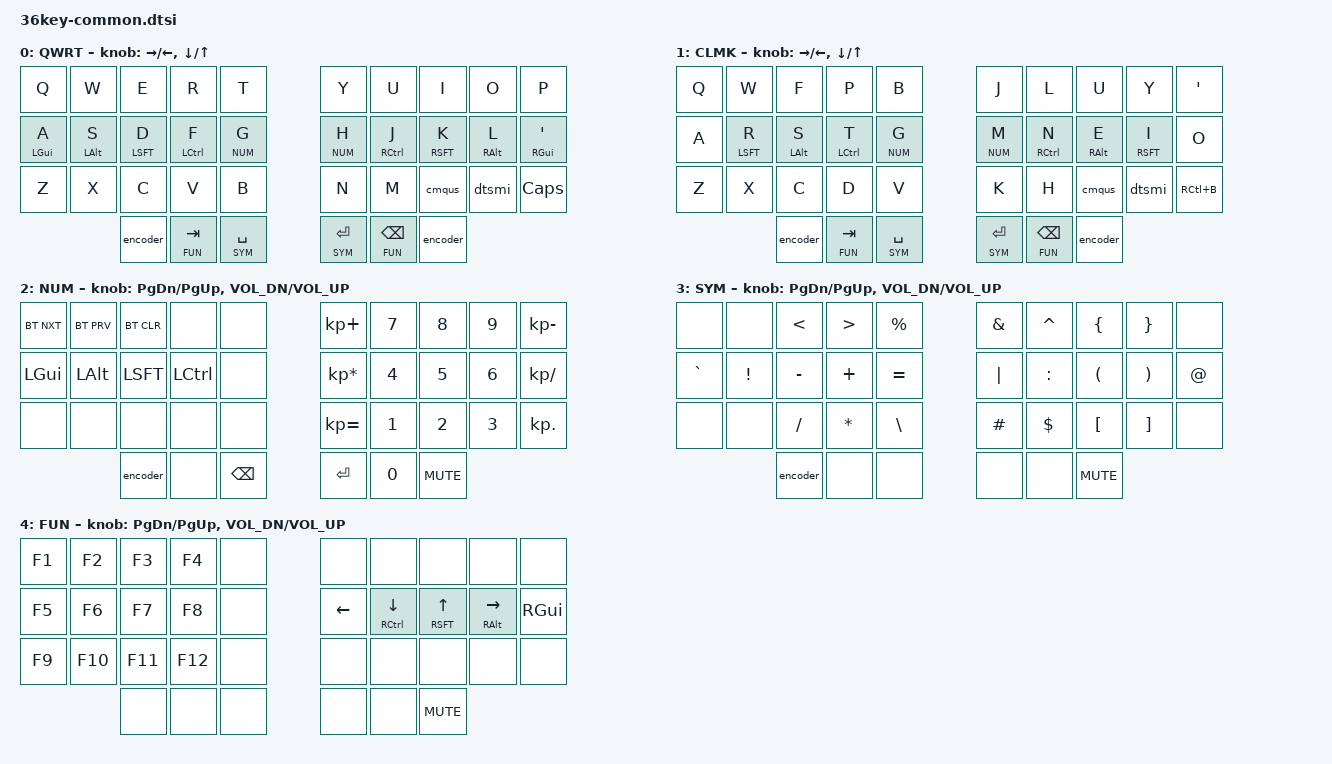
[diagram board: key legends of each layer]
#define DEFAULT 0
#define COLEMAK 1
#define NUM     2
#define SYM     3
#define FUN     4

#include "key-common.dtsi"

&mt {
   flavor = "tap-preferred";
   tapping_term_ms = <200>;
};

/ { 

    keymap {
        compatible = "zmk,keymap";
                
 	default_layer {
            label = "QWRT";
        	bindings = <
            	&kp Q           &kp W           &kp E           &kp R           &kp T           &kp Y           &kp U           &kp I           &kp O           &kp P
             	&mt LGUI A      &mt LALT S      &mt LSFT D      &mt LCTL F      &lt NUM G       &lt NUM H       &mt RCTL J      &mt RSFT K      &mt RALT L      &mt RGUI SQT 
                &kp Z           &kp X           &kp C           &kp V           &kp B           &kp N           &kp M           &cmqus          &dtsmi          &kp CAPS
                                                &encoder        &lt FUN TAB     &lt SYM SPACE   &lt SYM RET     &lt FUN BSPC    &encoder
             	>;
            sensor-bindings = <&inc_dec_kp RIGHT LEFT &inc_dec_kp DOWN UP>;
		    };

     	colemak_layer {
            label = "CLMK";
        	bindings = <
          	    &kp Q           &kp W           &kp F           &kp P           &kp B           &kp J           &kp L           &kp U           &kp Y           &kp SQT
            	&kp A           &mt LSFT R      &mt LALT S      &mt LCTL T      &lt NUM G       &lt NUM M       &mt RCTL N      &mt RALT E      &mt RSFT I      &kp O
                &kp Z           &kp X           &kp C           &kp D           &kp V           &kp K           &kp H           &cmqus          &dtsmi          &kp RC(B)
                                                &encoder        &lt FUN TAB     &lt SYM SPACE   &lt SYM RET     &lt FUN BSPC    &encoder
             	>;
            sensor-bindings = <&inc_dec_kp RIGHT LEFT &inc_dec_kp DOWN UP>;
		    };

        number_layer {
            label = "NUM";
            bindings = <
                &bt BT_NXT      &bt BT_PRV      &bt BT_CLR      &none           &none           &kp KP_PLUS     &kp N7          &kp N8          &kp N9          &kp KP_MINUS
                &kp LGUI        &kp LALT        &kp LSFT        &kp LCTL        &none           &kp KP_MULTIPLY &kp N4          &kp N5          &kp N6          &kp KP_DIVIDE
                &none           &none           &none           &none           &none           &kp KP_EQUAL    &kp N1          &kp N2          &kp N3          &kp KP_DOT
                                                &encoder        &none           &kp BSPC        &kp RET         &kp N0          &kp C_MUTE
            >;
            sensor-bindings = <&inc_dec_kp PG_DN PG_UP &inc_dec_kp C_VOL_DN C_VOL_UP>;
        };

        symbol_layer {
            label = "SYM";
            bindings = <
                &none           &none           &kp LT          &kp GT          &kp PRCNT       &kp AMPS        &kp CARET       &kp LBRC        &kp RBRC        &none
                &kp GRAVE       &kp EXCL        &kp MINUS       &kp PLUS        &kp EQUAL       &kp PIPE        &kp COLON       &kp LPAR        &kp RPAR        &kp AT
                &none           &none           &kp SLASH       &kp STAR        &kp BSLH        &kp HASH        &kp DLLR        &kp LBKT        &kp RBKT        &none  
                                                &encoder        &none           &none           &none           &none           &kp C_MUTE
            >;
            sensor-bindings = <&inc_dec_kp PG_DN PG_UP &inc_dec_kp C_VOL_DN C_VOL_UP>;
        };
        
        function_layer {
            label = "FUN";
            bindings = <
                &kp F1           &kp F2         &kp F3          &kp F4          &none           &none           &none           &none           &none           &none
                &kp F5           &kp F6         &kp F7          &kp F8          &none           &kp LEFT        &mt RCTL DOWN  &mt RSFT UP   &mt RALT RIGHT     &kp RGUI
                &kp F9           &kp F10        &kp F11         &kp F12         &none           &none           &none           &none           &none           &none
                                                &none           &none           &none           &none           &none           &kp C_MUTE
            >;
            sensor-bindings = <&inc_dec_kp PG_DN PG_UP &inc_dec_kp C_VOL_DN C_VOL_UP>;
        };
   	};
};
